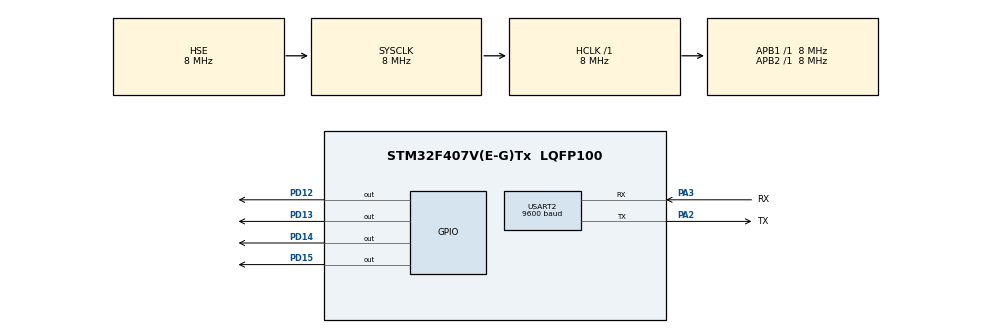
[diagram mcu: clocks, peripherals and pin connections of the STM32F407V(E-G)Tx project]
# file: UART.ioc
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Dma.Request0=USART2_TX
Dma.Request1=USART2_RX
Dma.USART2_RX.1.Direction=DMA_PERIPH_TO_MEMORY
Dma.USART2_RX.1.FIFOMode=DMA_FIFOMODE_DISABLE
Dma.USART2_RX.1.Instance=DMA1_Stream5
Dma.USART2_RX.1.MemDataAlignment=DMA_MDATAALIGN_BYTE
Dma.USART2_RX.1.MemInc=DMA_MINC_ENABLE
Dma.USART2_RX.1.Mode=DMA_NORMAL
Dma.USART2_RX.1.PeriphDataAlignment=DMA_PDATAALIGN_BYTE
Dma.USART2_RX.1.PeriphInc=DMA_PINC_DISABLE
Dma.USART2_RX.1.Priority=DMA_PRIORITY_LOW
Dma.USART2_TX.0.Direction=DMA_MEMORY_TO_PERIPH
Dma.USART2_TX.0.FIFOMode=DMA_FIFOMODE_DISABLE
Dma.USART2_TX.0.Instance=DMA1_Stream6
Dma.USART2_TX.0.MemDataAlignment=DMA_MDATAALIGN_BYTE
Dma.USART2_TX.0.MemInc=DMA_MINC_ENABLE
Dma.USART2_TX.0.Mode=DMA_NORMAL
Dma.USART2_TX.0.PeriphDataAlignment=DMA_PDATAALIGN_BYTE
Dma.USART2_TX.0.PeriphInc=DMA_PINC_DISABLE
Dma.USART2_TX.0.Priority=DMA_PRIORITY_LOW
Mcu.Family=STM32F4
Mcu.Name=STM32F407V(E-G)Tx
Mcu.Package=LQFP100
NVIC.DMA1_Stream5_IRQn=true\:0\:0\:false\:false\:true\:false\:true\:true
NVIC.DMA1_Stream6_IRQn=true\:0\:0\:false\:false\:true\:false\:true\:true
NVIC.PriorityGroup=NVIC_PRIORITYGROUP_4
NVIC.USART2_IRQn=true\:0\:0\:false\:false\:true\:true\:true\:true
PA2.GPIO_Label=TX
PA2.GPIO_PuPd=GPIO_NOPULL
PA2.GPIO_Speed=GPIO_SPEED_FREQ_VERY_HIGH
PA2.Mode=Asynchronous
PA2.Signal=USART2_TX
PA3.GPIO_Label=RX
PA3.GPIO_PuPd=GPIO_PULLUP
PA3.GPIO_Speed=GPIO_SPEED_FREQ_VERY_HIGH
PA3.Mode=Asynchronous
PA3.Signal=USART2_RX
PD12.Signal=GPIO_Output
PD13.Signal=GPIO_Output
PD14.Signal=GPIO_Output
PD15.Signal=GPIO_Output
PH0-OSC_IN.Mode=HSE-External-Oscillator
PH0-OSC_IN.Signal=RCC_OSC_IN
PH1-OSC_OUT.Mode=HSE-External-Oscillator
PH1-OSC_OUT.Signal=RCC_OSC_OUT
ProjectManager.HeapSize=0x200
ProjectManager.StackSize=0x400
ProjectManager.TargetToolchain=STM32CubeIDE
RCC.48MHZClocksFreq_Value=24000000
RCC.AHBFreq_Value=8000000
RCC.APB1Freq_Value=8000000
RCC.APB1TimFreq_Value=8000000
RCC.APB2Freq_Value=8000000
RCC.APB2TimFreq_Value=8000000
RCC.CortexFreq_Value=8000000
RCC.HCLKFreq_Value=8000000
RCC.HSE_VALUE=8000000
RCC.HSI_VALUE=16000000
RCC.LSE_VALUE=32768
RCC.PLLSourceVirtual=RCC_PLLSOURCE_HSE
RCC.SYSCLKFreq_VALUE=8000000
RCC.SYSCLKSource=RCC_SYSCLKSOURCE_HSE
RCC.VCOOutputFreq_Value=96000000
USART2.BaudRate=9600
USART2.OverSampling=UART_OVERSAMPLING_16
USART2.Parity=PARITY_NONE
USART2.VirtualMode=VM_ASYNC
USART2.WordLength=WORDLENGTH_8B
board=custom

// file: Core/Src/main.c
/* USER CODE BEGIN Header */
/**
  ******************************************************************************
  * @file           : main.c
  * @brief          : Main program body
  ******************************************************************************
  * @attention
  *
  * Copyright (c) 2024 STMicroelectronics.
  * All rights reserved.
  *
  * This software is licensed under terms that can be found in the LICENSE file
  * in the root directory of this software component.
  * If no LICENSE file comes with this software, it is provided AS-IS.
  *
  ******************************************************************************
  */
/* USER CODE END Header */
#include "main.h"

/* USER CODE BEGIN PD */
#define TX
#define RX
#define MODE_polling
#define Mode_Interrupt
#define MODE_DMA
/* USER CODE END PD */

UART_HandleTypeDef huart2;
DMA_HandleTypeDef hdma_usart2_tx;
DMA_HandleTypeDef hdma_usart2_rx;

/* USER CODE BEGIN PV */
char TxBuffer[4] = "omar" ;
char RxBuffer[4] = "" ;
/* USER CODE END PV */

void SystemClock_Config(void);
static void MX_GPIO_Init(void);
static void MX_DMA_Init(void);
static void MX_USART2_UART_Init(void);

/* USER CODE BEGIN 0 */
#ifdef TX
void HAL_UART_TxCpltCallback(UART_HandleTypeDef *huart)
{
    #ifdef Mode_Interrupt
	HAL_UART_Transmit_IT(&huart2, TxBuffer, sizeof(TxBuffer));
    #endif
	HAL_GPIO_WritePin(GPIOD,GPIO_PIN_12, GPIO_PIN_SET);
}
#endif
#ifdef RX
void HAL_UART_RxCpltCallback(UART_HandleTypeDef *huart)
{
    #ifdef Mode_Interrupt
 	HAL_UART_Receive_IT(&huart2, TxBuffer, sizeof(TxBuffer));
    #endif
	HAL_GPIO_WritePin(GPIOD,GPIO_PIN_12, GPIO_PIN_SET);
}
#endif
/* USER CODE END 0 */

int main(void)
{

  /* MCU Configuration--------------------------------------------------------*/

  /* Reset of all peripherals, Initializes the Flash interface and the Systick. */
  HAL_Init();

  /* Configure the system clock */
  SystemClock_Config();

  /* Initialize all configured peripherals */
  MX_GPIO_Init();
  MX_DMA_Init();
  MX_USART2_UART_Init();
  /* USER CODE BEGIN 2 */
#ifdef MODE_polling
#ifdef TX
  if (HAL_UART_Transmit(&huart2, TxBuffer, sizeof(TxBuffer), 1000)  != HAL_OK)
	    {
	      Error_Handler();
	    }
#endif
#ifdef RX
  if (HAL_UART_Receive(&huart2, RxBuffer, sizeof(RxBuffer), 1000)  != HAL_OK)
	    {
	      Error_Handler();
	    }
#endif
#endif

#ifdef DMA
#ifdef TX
  if (HAL_UART_Transmit_DMA(&huart2, TxBuffer, sizeof(TxBuffer))  != HAL_OK)
	    {
	      Error_Handler();
	    }
#endif
#ifdef RX
  if (HAL_UART_Receive_DMA(&huart2, RxBuffer, sizeof(RxBuffer))  != HAL_OK)
	    {
	      Error_Handler();
	    }
#endif
#endif

  /* USER CODE END 2 */

  /* Infinite loop */
  /* USER CODE BEGIN WHILE */
  while (1)
  {
	  HAL_GPIO_TogglePin(GPIOD, GPIO_PIN_13|GPIO_PIN_14);
    /* USER CODE END WHILE */

  }
}

void SystemClock_Config(void)
{
  RCC_OscInitTypeDef RCC_OscInitStruct = {0};
  RCC_ClkInitTypeDef RCC_ClkInitStruct = {0};

  /** Configure the main internal regulator output voltage
  */
  __HAL_RCC_PWR_CLK_ENABLE();
  __HAL_PWR_VOLTAGESCALING_CONFIG(PWR_REGULATOR_VOLTAGE_SCALE1);

  /** Initializes the RCC Oscillators according to the specified parameters
  * in the RCC_OscInitTypeDef structure.
  */
  RCC_OscInitStruct.OscillatorType = RCC_OSCILLATORTYPE_HSE;
  RCC_OscInitStruct.HSEState = RCC_HSE_ON;
  RCC_OscInitStruct.PLL.PLLState = RCC_PLL_NONE;
  if (HAL_RCC_OscConfig(&RCC_OscInitStruct) != HAL_OK)
  {
    Error_Handler();
  }

  /** Initializes the CPU, AHB and APB buses clocks
  */
  RCC_ClkInitStruct.ClockType = RCC_CLOCKTYPE_HCLK|RCC_CLOCKTYPE_SYSCLK
                              |RCC_CLOCKTYPE_PCLK1|RCC_CLOCKTYPE_PCLK2;
  RCC_ClkInitStruct.SYSCLKSource = RCC_SYSCLKSOURCE_HSE;
  RCC_ClkInitStruct.AHBCLKDivider = RCC_SYSCLK_DIV1;
  RCC_ClkInitStruct.APB1CLKDivider = RCC_HCLK_DIV1;
  RCC_ClkInitStruct.APB2CLKDivider = RCC_HCLK_DIV1;

  if (HAL_RCC_ClockConfig(&RCC_ClkInitStruct, FLASH_LATENCY_0) != HAL_OK)
  {
    Error_Handler();
  }
}

static void MX_USART2_UART_Init(void)
{

  huart2.Instance = USART2;
  huart2.Init.BaudRate = 9600;
  huart2.Init.WordLength = UART_WORDLENGTH_8B;
  huart2.Init.StopBits = UART_STOPBITS_1;
  huart2.Init.Parity = UART_PARITY_NONE;
  huart2.Init.Mode = UART_MODE_TX_RX;
  huart2.Init.HwFlowCtl = UART_HWCONTROL_NONE;
  huart2.Init.OverSampling = UART_OVERSAMPLING_16;
  if (HAL_UART_Init(&huart2) != HAL_OK)
  {
    Error_Handler();
  }

}

static void MX_DMA_Init(void)
{

  /* DMA controller clock enable */
  __HAL_RCC_DMA1_CLK_ENABLE();

  /* DMA interrupt init */
  /* DMA1_Stream5_IRQn interrupt configuration */
  HAL_NVIC_SetPriority(DMA1_Stream5_IRQn, 0, 0);
  HAL_NVIC_EnableIRQ(DMA1_Stream5_IRQn);
  /* DMA1_Stream6_IRQn interrupt configuration */
  HAL_NVIC_SetPriority(DMA1_Stream6_IRQn, 0, 0);
  HAL_NVIC_EnableIRQ(DMA1_Stream6_IRQn);

}

static void MX_GPIO_Init(void)
{
  GPIO_InitTypeDef GPIO_InitStruct = {0};

  /* GPIO Ports Clock Enable */
  __HAL_RCC_GPIOH_CLK_ENABLE();
  __HAL_RCC_GPIOA_CLK_ENABLE();
  __HAL_RCC_GPIOD_CLK_ENABLE();

  /*Configure GPIO pin Output Level */
  HAL_GPIO_WritePin(GPIOD, GPIO_PIN_12|GPIO_PIN_13|GPIO_PIN_14|GPIO_PIN_15, GPIO_PIN_RESET);

  /*Configure GPIO pins : PD12 PD13 PD14 PD15 */
  GPIO_InitStruct.Pin = GPIO_PIN_12|GPIO_PIN_13|GPIO_PIN_14|GPIO_PIN_15;
  GPIO_InitStruct.Mode = GPIO_MODE_OUTPUT_PP;
  GPIO_InitStruct.Pull = GPIO_NOPULL;
  GPIO_InitStruct.Speed = GPIO_SPEED_FREQ_LOW;
  HAL_GPIO_Init(GPIOD, &GPIO_InitStruct);

}

void Error_Handler(void)
{
  /* USER CODE BEGIN Error_Handler_Debug */
  /* User can add his own implementation to report the HAL error return state */
  __disable_irq();
  HAL_GPIO_WritePin(GPIOD,GPIO_PIN_14, GPIO_PIN_SET);
  while (1)
  {
  }
  /* USER CODE END Error_Handler_Debug */
}
